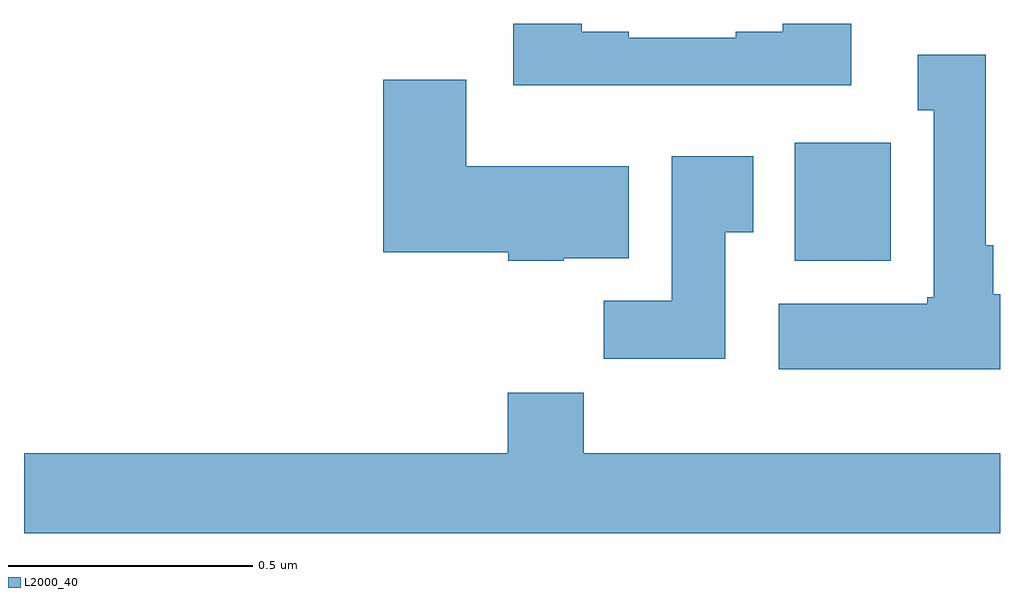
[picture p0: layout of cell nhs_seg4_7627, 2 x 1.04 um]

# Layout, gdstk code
import gdstk
lib = gdstk.Library(unit=1e-6, precision=1e-09)
def R(c, l, rs):  # rectangles x0, y0, x1, y1
    for r in rs: c.add(gdstk.rectangle(r[:2], r[2:], *l))
def P(c, l, *ps):  # polygons
    for p in ps: c.add(gdstk.Polygon(p, *l))
L2000_40 = (2000, 40)

nhs_seg4_7627 = lib.new_cell('nhs_seg4_7627')
R(nhs_seg4_7627, L2000_40, [(206.579,761.414,206.776,761.656)])
P(nhs_seg4_7627, L2000_40, [(206.695,761.9),(206.555,761.9),(206.555,761.884),(206.459,761.884),(206.459,761.871),(206.239,761.871),(206.239,761.884),(206.143,761.884),(206.143,761.9),(206.003,761.9),(206.003,761.774),(206.695,761.774)],
  [(207,761.346),(206.986,761.346),(206.986,761.446),(206.971,761.446),(206.971,761.836),(206.831,761.836),(206.831,761.723),(206.864,761.723),(206.864,761.34),(206.851,761.34),(206.851,761.326),(206.547,761.326),(206.547,761.192),(207,761.192)],
  [(206.106,761.42),(206.239,761.42),(206.239,761.608),(205.906,761.608),(205.906,761.785),(205.736,761.785),(205.736,761.432),(205.992,761.432),(205.992,761.414),(206.106,761.414)],
  [(206.437,761.473),(206.494,761.473),(206.494,761.629),(206.327,761.629),(206.327,761.332),(206.188,761.332),(206.188,761.214),(206.437,761.214)],
  [(207,761.02),(206.147,761.02),(206.147,761.144),(205.991,761.144),(205.991,761.02),(205,761.02),(205,760.856),(207,760.856)])

lib.write_gds('nhs_seg4_7627.gds')
